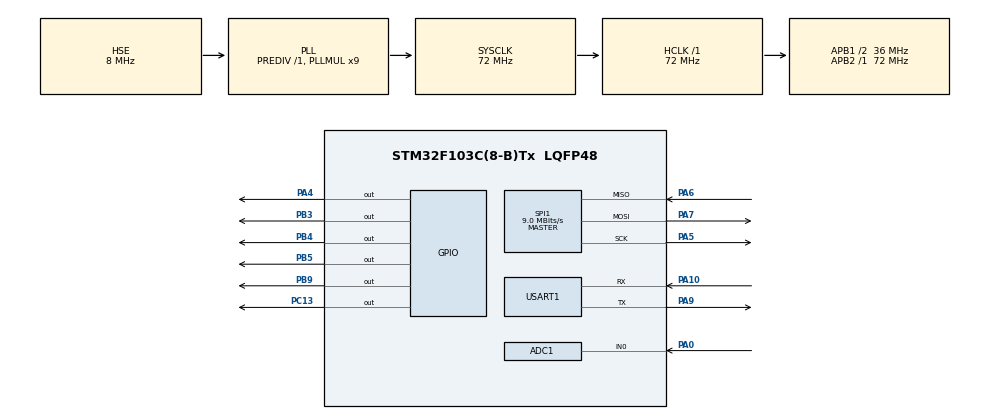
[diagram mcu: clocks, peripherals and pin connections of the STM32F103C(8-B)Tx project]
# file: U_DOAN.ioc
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Mcu.Family=STM32F1
RCC.PLLSourceVirtual=RCC_PLLSOURCE_HSE
NVIC.ADC1_2_IRQn=true\:1\:0\:true\:false\:true\:true\:true
PA6.Mode=Full_Duplex_Master
ADC1.Rank-0\#ChannelRegularConversion=1
PA7.Mode=Full_Duplex_Master
PD1-OSC_OUT.Mode=HSE-External-Oscillator
PA10.Mode=Asynchronous
SPI1.VirtualType=VM_MASTER
ADC1.ContinuousConvMode=ENABLE
PC13-TAMPER-RTC.Signal=GPIO_Output
NVIC.TIM1_UP_IRQn=true\:2\:0\:true\:false\:true\:true\:true
PD0-OSC_IN.Signal=RCC_OSC_IN
RCC.APB1CLKDivider=RCC_HCLK_DIV2
RCC.SYSCLKSource=RCC_SYSCLKSOURCE_PLLCLK
ProjectManager.StackSize=0x400
PA0-WKUP.Signal=ADCx_IN0
PD1-OSC_OUT.Signal=RCC_OSC_OUT
RCC.ADCPresc=RCC_ADCPCLK2_DIV6
PA13.Signal=SYS_JTMS-SWDIO
PA9.Mode=Asynchronous
TIM1.Prescaler=7199
ProjectManager.TargetToolchain=STM32CubeIDE
SPI1.Direction=SPI_DIRECTION_2LINES
RCC.HCLKFreq_Value=72000000
RCC.APB2TimFreq_Value=72000000
PA9.Signal=USART1_TX
SPI1.CalculateBaudRate=9.0 MBits/s
RCC.USBFreq_Value=72000000
RCC.AHBFreq_Value=72000000
PD0-OSC_IN.Mode=HSE-External-Oscillator
PA5.Signal=SPI1_SCK
ADC1.Channel-0\#ChannelRegularConversion=ADC_CHANNEL_0
board=custom
RCC.PLLMUL=RCC_PLL_MUL9
RCC.APB2Freq_Value=72000000
SPI1.Mode=SPI_MODE_MASTER
PA14.Mode=Serial_Wire
SH.ADCx_IN0.0=ADC1_IN0,IN0
PA13.Mode=Serial_Wire
Mcu.Name=STM32F103C(8-B)Tx
VP_TIM1_VS_ClockSourceINT.Mode=Internal
ADC1.SamplingTime-0\#ChannelRegularConversion=ADC_SAMPLETIME_239CYCLES_5
PB3.Signal=GPIO_Output
PA4.Signal=GPIO_Output
RCC.SYSCLKFreq_VALUE=72000000
Mcu.Package=LQFP48
PB5.Signal=GPIO_Output
PB9.Signal=GPIO_Output
PA6.Signal=SPI1_MISO
ADC1.master=1
USART1.VirtualMode=VM_ASYNC
PA10.Signal=USART1_RX
PA14.Signal=SYS_JTCK-SWCLK
ProjectManager.HeapSize=0x200
NVIC.PriorityGroup=NVIC_PRIORITYGROUP_4
ADC1.NbrOfConversionFlag=1
RCC.APB1TimFreq_Value=72000000
TIM1.Period=15000
NVIC.USART1_IRQn=true\:1\:0\:true\:false\:true\:true\:true
RCC.APB1Freq_Value=36000000
SPI1.BaudRatePrescaler=SPI_BAUDRATEPRESCALER_8
PB4.Signal=GPIO_Output
PA5.Mode=Full_Duplex_Master
PA7.Signal=SPI1_MOSI

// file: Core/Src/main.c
/* USER CODE BEGIN Header */
/**
 ******************************************************************************
 * @file           : main.c
 * @brief          : Main program body
 ******************************************************************************
 * @attention
 *
 * <h2><center>&copy; Copyright (c) 2022 STMicroelectronics.
 * All rights reserved.</center></h2>
 *
 * This software component is licensed by ST under BSD 3-Clause license,
 * the "License"; You may not use this file except in compliance with the
 * License. You may obtain a copy of the License at:
 *                        opensource.org/licenses/BSD-3-Clause
 *
 ******************************************************************************
 */
/* USER CODE END Header */
#include "main.h"

/* USER CODE BEGIN Includes */
#include "stdio.h"
#include <stdbool.h>
#include <stdint.h>
#include <string.h>
#include <stdlib.h>
#include "cJSON.h"
#include "rc522.h"
#include "DHT.h"
/* USER CODE END Includes */

ADC_HandleTypeDef hadc1;

SPI_HandleTypeDef hspi1;

TIM_HandleTypeDef htim1;

UART_HandleTypeDef huart1;

void SystemClock_Config(void);
static void MX_GPIO_Init(void);
static void MX_ADC1_Init(void);
static void MX_SPI1_Init(void);
static void MX_TIM1_Init(void);
static void MX_USART1_UART_Init(void);
/* USER CODE BEGIN PFP */

// Transmit using Print
#ifdef __GNUC__
#define PUTCHAR_PROTOTYPE int __io_putchar(int ch)
#else
#define PUTCHAR_PROTOTYPE int fputc(int ch,FILE *f)
#endif
PUTCHAR_PROTOTYPE {
	// CONG PC
	HAL_UART_Transmit(&huart1, (uint8_t*) &ch, 1, 0xFFFF);
	return ch;
}

void senddata(unsigned int Temperature, unsigned int Humidity, unsigned int gas,
		unsigned int TB1, unsigned int TB2, uint8_t serNum[5]);
void HAL_UART_RxCpltCallback(UART_HandleTypeDef *huart);
void XulyJson(char *DataJson);

// receive ID CARD
uint8_t status;
uint8_t str[MFRC522_MAX_LEN];
uint8_t serNum[5];

// Transmit and receive data
char sendo[20];
char rec, null;
char buffer[20];
uint8_t i = 0;

// variable of DHT11, MQ2
DHT_DataTypedef DHT11_Data;
unsigned int Temperature;
unsigned int Humidity;
unsigned int gas = 0;
unsigned int TB1 = 0;
unsigned int TB2 = 0;

//convert to char
char Str_temp[50];
char Str_gas[50];
char Str_hum[50];
char Str_ID[50];
char Str_TB1[50];
char Str_TB2[50];
char JSON[50];
char a[50];

cJSON *str_json, *str_TB1, *str_TB2, *str_Mode;
/* USER CODE END PFP */

/* USER CODE BEGIN 0 */
// convert to Json
void senddata(unsigned int Temperature, unsigned int Humidity, unsigned int gas,
		unsigned int TB1, unsigned int TB2, uint8_t serNum[5]) {
	/* // {"temp":" 69*c", "gas":"1",...}  */

	// data end of array char
	// delete data
	for (int i = 0; i < 50; i++) {
		Str_temp[i] = 0;
		Str_gas[i] = 0;
		Str_hum[i] = 0;
		Str_TB1[i] = 0;
		Str_TB2[i] = 0;
		Str_ID[i] = 0;
		JSON[i] = 0;
	}

	// transmit to array char

	sprintf(Str_temp, "%d", Temperature);
	sprintf(Str_gas, "%d", gas);
	sprintf(Str_hum, "%d", Humidity);
	sprintf(Str_TB1, "%d", TB1);
	sprintf(Str_TB2, "%d", TB2);
	sprintf(Str_ID, "%d%d%d%d", serNum[1], serNum[2], serNum[3], serNum[4]);

	// {"tempt":"12","gas":"12","hum":"43"}

	strcat(JSON, "{\"tempt\":\"");
	strcat(JSON, Str_temp);
	strcat(JSON, "\",");

	strcat(JSON, "\"hum\":\"");
	strcat(JSON, Str_hum);
	strcat(JSON, "\",");

	strcat(JSON, "\"ID\":\"");
	strcat(JSON, Str_ID);
	strcat(JSON, "\",");

	strcat(JSON, "\"gas\":\"");
	strcat(JSON, Str_gas);
	strcat(JSON, "\",");

	strcat(JSON, "\"TB1\":\"");
	strcat(JSON, Str_TB1);
	strcat(JSON, "\",");

	strcat(JSON, "\"TB2\":\"");
	strcat(JSON, Str_TB2);
	strcat(JSON, "\"}");

	printf("%s\r\n", JSON);

}

// process JSON
void XulyJson(char *DataJson) {
	str_json = cJSON_Parse(DataJson);
	if (!str_json) {
		printf("JSON ERROR!\r\n");
		return;
	} else {
		printf("JSON OK\r\n");
		// {"TB1" :"1-0",...}
		if (cJSON_GetObjectItem(str_json, "TB1")) {
			TB1 = atoi(cJSON_GetObjectItem(str_json, "TB1")->valuestring);
			HAL_GPIO_WritePin(GPIOC, GPIO_PIN_13, TB1);
			/*
			 if (strstr(cJSON_GetObjectItem(str_json, "TB1")->valuestring, "0")!= NULL) {
			 TB1 = atoi(cJSON_GetObjectItem(str_json, "TB1") -> valuestring);
			 printf("OFF LED 1");
			 HAL_GPIO_WritePin(GPIOC, GPIO_PIN_13, TB1);
			 } else if (strstr(cJSON_GetObjectItem(str_json, "TB1")->valuestring, "1") != NULL) {
			 printf("ON LED 1");
			 HAL_GPIO_WritePin(GPIOC, GPIO_PIN_13, 0);
			 }
			 */
		}
		if (cJSON_GetObjectItem(str_json, "TB2")) {
			TB2 = atoi(cJSON_GetObjectItem(str_json, "TB2")->valuestring);
		}
		/*
		 if(cJSON_GetObjectItem(str_json, "C1"))
		 {
		 C1 = atoi(cJSON_GetObjectItem(str_json, "C1") -> valuestring);
		 // convert from char	 to int
		 }
		 */
		cJSON_Delete(str_json);
	}
}

// use timer counter up 20000 check RFID.
void HAL_TIM_PeriodElapsedCallback(TIM_HandleTypeDef *htim) {
	for (int i = 0; i < sizeof(str); i++) {
					str[i] = null;
				}
	if (htim->Instance == htim1.Instance) {
		status = MFRC522_Request(PICC_REQIDL, str);	// Find cards, return card type
		if (status == MI_OK)
			status = MFRC522_Anticoll(str);
		memcpy(serNum, str, 5);
		if (status == MI_OK) {
			if (serNum[1] == 14 && serNum[2] == 70 && serNum[3] == 24
					&& serNum[4] == 211) {
				HAL_GPIO_WritePin(GPIOC, GPIO_PIN_13, 0);
			} else
				HAL_GPIO_WritePin(GPIOC, GPIO_PIN_13, 1);
		}

//		sprintf(Str_gas, "%d", gas);
	}

}
// use receive interrupt
void HAL_UART_RxCpltCallback(UART_HandleTypeDef *huart) {
	if (huart->Instance == huart1.Instance) {
		if (rec != 13) {
			buffer[i++] = rec;
		}

		else if (rec == 13) {
			XulyJson(buffer);
			i = 0;
			for (int cnt = 0; cnt < sizeof(buffer); cnt++) {
				buffer[cnt] = null;
			}

		}
		HAL_UART_Receive_IT(&huart1, (uint8_t*) &rec, 1);

	}
}
void HAL_ADC_ConvCpltCallback(ADC_HandleTypeDef* hadc){
	if(hadc->Instance == hadc1.Instance){
		gas = HAL_ADC_GetValue(&hadc1);
	}
}
/* USER CODE END 0 */

int main(void)
{

  /* MCU Configuration--------------------------------------------------------*/

  /* Reset of all peripherals, Initializes the Flash interface and the Systick. */
  HAL_Init();

  /* Configure the system clock */
  SystemClock_Config();

  /* Initialize all configured peripherals */
  MX_GPIO_Init();
  MX_ADC1_Init();
  MX_SPI1_Init();
  MX_TIM1_Init();
  MX_USART1_UART_Init();
  /* USER CODE BEGIN 2 */
	MFRC522_Init();
	HAL_UART_Receive_IT(&huart1, (uint8_t*) &rec, 1);
	HAL_ADC_Start_IT(&hadc1);
	HAL_TIM_Base_Start_IT(&htim1);
  /* USER CODE END 2 */

  /* Infinite loop */
  /* USER CODE BEGIN WHILE */
	while (1) {
//		DHT_GetData(&DHT11_Data);
//		Temperature = DHT11_Data.Temperature;
//		Humidity = DHT11_Data.Humidity;
		HAL_Delay(50);
		senddata(Temperature, Humidity, gas, TB1, TB2, serNum);
		// delete ID card

		HAL_Delay(3000);
    /* USER CODE END WHILE */

	}
}

void SystemClock_Config(void)
{
  RCC_OscInitTypeDef RCC_OscInitStruct = {0};
  RCC_ClkInitTypeDef RCC_ClkInitStruct = {0};
  RCC_PeriphCLKInitTypeDef PeriphClkInit = {0};

  /** Initializes the RCC Oscillators according to the specified parameters
  * in the RCC_OscInitTypeDef structure.
  */
  RCC_OscInitStruct.OscillatorType = RCC_OSCILLATORTYPE_HSE;
  RCC_OscInitStruct.HSEState = RCC_HSE_ON;
  RCC_OscInitStruct.HSEPredivValue = RCC_HSE_PREDIV_DIV1;
  RCC_OscInitStruct.HSIState = RCC_HSI_ON;
  RCC_OscInitStruct.PLL.PLLState = RCC_PLL_ON;
  RCC_OscInitStruct.PLL.PLLSource = RCC_PLLSOURCE_HSE;
  RCC_OscInitStruct.PLL.PLLMUL = RCC_PLL_MUL9;
  if (HAL_RCC_OscConfig(&RCC_OscInitStruct) != HAL_OK)
  {
    Error_Handler();
  }
  /** Initializes the CPU, AHB and APB buses clocks
  */
  RCC_ClkInitStruct.ClockType = RCC_CLOCKTYPE_HCLK|RCC_CLOCKTYPE_SYSCLK
                              |RCC_CLOCKTYPE_PCLK1|RCC_CLOCKTYPE_PCLK2;
  RCC_ClkInitStruct.SYSCLKSource = RCC_SYSCLKSOURCE_PLLCLK;
  RCC_ClkInitStruct.AHBCLKDivider = RCC_SYSCLK_DIV1;
  RCC_ClkInitStruct.APB1CLKDivider = RCC_HCLK_DIV2;
  RCC_ClkInitStruct.APB2CLKDivider = RCC_HCLK_DIV1;

  if (HAL_RCC_ClockConfig(&RCC_ClkInitStruct, FLASH_LATENCY_2) != HAL_OK)
  {
    Error_Handler();
  }
  PeriphClkInit.PeriphClockSelection = RCC_PERIPHCLK_ADC;
  PeriphClkInit.AdcClockSelection = RCC_ADCPCLK2_DIV6;
  if (HAL_RCCEx_PeriphCLKConfig(&PeriphClkInit) != HAL_OK)
  {
    Error_Handler();
  }
}

static void MX_ADC1_Init(void)
{

  ADC_ChannelConfTypeDef sConfig = {0};

  /** Common config
  */
  hadc1.Instance = ADC1;
  hadc1.Init.ScanConvMode = ADC_SCAN_DISABLE;
  hadc1.Init.ContinuousConvMode = ENABLE;
  hadc1.Init.DiscontinuousConvMode = DISABLE;
  hadc1.Init.ExternalTrigConv = ADC_SOFTWARE_START;
  hadc1.Init.DataAlign = ADC_DATAALIGN_RIGHT;
  hadc1.Init.NbrOfConversion = 1;
  if (HAL_ADC_Init(&hadc1) != HAL_OK)
  {
    Error_Handler();
  }
  /** Configure Regular Channel
  */
  sConfig.Channel = ADC_CHANNEL_0;
  sConfig.Rank = ADC_REGULAR_RANK_1;
  sConfig.SamplingTime = ADC_SAMPLETIME_239CYCLES_5;
  if (HAL_ADC_ConfigChannel(&hadc1, &sConfig) != HAL_OK)
  {
    Error_Handler();
  }

}

static void MX_SPI1_Init(void)
{

  /* SPI1 parameter configuration*/
  hspi1.Instance = SPI1;
  hspi1.Init.Mode = SPI_MODE_MASTER;
  hspi1.Init.Direction = SPI_DIRECTION_2LINES;
  hspi1.Init.DataSize = SPI_DATASIZE_8BIT;
  hspi1.Init.CLKPolarity = SPI_POLARITY_LOW;
  hspi1.Init.CLKPhase = SPI_PHASE_1EDGE;
  hspi1.Init.NSS = SPI_NSS_SOFT;
  hspi1.Init.BaudRatePrescaler = SPI_BAUDRATEPRESCALER_8;
  hspi1.Init.FirstBit = SPI_FIRSTBIT_MSB;
  hspi1.Init.TIMode = SPI_TIMODE_DISABLE;
  hspi1.Init.CRCCalculation = SPI_CRCCALCULATION_DISABLE;
  hspi1.Init.CRCPolynomial = 10;
  if (HAL_SPI_Init(&hspi1) != HAL_OK)
  {
    Error_Handler();
  }

}

static void MX_TIM1_Init(void)
{

  TIM_ClockConfigTypeDef sClockSourceConfig = {0};
  TIM_MasterConfigTypeDef sMasterConfig = {0};

  htim1.Instance = TIM1;
  htim1.Init.Prescaler = 7199;
  htim1.Init.CounterMode = TIM_COUNTERMODE_UP;
  htim1.Init.Period = 15000;
  htim1.Init.ClockDivision = TIM_CLOCKDIVISION_DIV1;
  htim1.Init.RepetitionCounter = 0;
  htim1.Init.AutoReloadPreload = TIM_AUTORELOAD_PRELOAD_DISABLE;
  if (HAL_TIM_Base_Init(&htim1) != HAL_OK)
  {
    Error_Handler();
  }
  sClockSourceConfig.ClockSource = TIM_CLOCKSOURCE_INTERNAL;
  if (HAL_TIM_ConfigClockSource(&htim1, &sClockSourceConfig) != HAL_OK)
  {
    Error_Handler();
  }
  sMasterConfig.MasterOutputTrigger = TIM_TRGO_RESET;
  sMasterConfig.MasterSlaveMode = TIM_MASTERSLAVEMODE_DISABLE;
  if (HAL_TIMEx_MasterConfigSynchronization(&htim1, &sMasterConfig) != HAL_OK)
  {
    Error_Handler();
  }

}

static void MX_USART1_UART_Init(void)
{

  huart1.Instance = USART1;
  huart1.Init.BaudRate = 115200;
  huart1.Init.WordLength = UART_WORDLENGTH_8B;
  huart1.Init.StopBits = UART_STOPBITS_1;
  huart1.Init.Parity = UART_PARITY_NONE;
  huart1.Init.Mode = UART_MODE_TX_RX;
  huart1.Init.HwFlowCtl = UART_HWCONTROL_NONE;
  huart1.Init.OverSampling = UART_OVERSAMPLING_16;
  if (HAL_UART_Init(&huart1) != HAL_OK)
  {
    Error_Handler();
  }

}

static void MX_GPIO_Init(void)
{
  GPIO_InitTypeDef GPIO_InitStruct = {0};

  /* GPIO Ports Clock Enable */
  __HAL_RCC_GPIOC_CLK_ENABLE();
  __HAL_RCC_GPIOD_CLK_ENABLE();
  __HAL_RCC_GPIOA_CLK_ENABLE();
  __HAL_RCC_GPIOB_CLK_ENABLE();

  /*Configure GPIO pin Output Level */
  HAL_GPIO_WritePin(GPIOC, GPIO_PIN_13, GPIO_PIN_RESET);

  /*Configure GPIO pin Output Level */
  HAL_GPIO_WritePin(GPIOA, GPIO_PIN_4, GPIO_PIN_RESET);

  /*Configure GPIO pin Output Level */
  HAL_GPIO_WritePin(GPIOB, GPIO_PIN_3|GPIO_PIN_4|GPIO_PIN_5|GPIO_PIN_9, GPIO_PIN_RESET);

  /*Configure GPIO pin : PC13 */
  GPIO_InitStruct.Pin = GPIO_PIN_13;
  GPIO_InitStruct.Mode = GPIO_MODE_OUTPUT_PP;
  GPIO_InitStruct.Pull = GPIO_NOPULL;
  GPIO_InitStruct.Speed = GPIO_SPEED_FREQ_LOW;
  HAL_GPIO_Init(GPIOC, &GPIO_InitStruct);

  /*Configure GPIO pin : PA4 */
  GPIO_InitStruct.Pin = GPIO_PIN_4;
  GPIO_InitStruct.Mode = GPIO_MODE_OUTPUT_PP;
  GPIO_InitStruct.Pull = GPIO_NOPULL;
  GPIO_InitStruct.Speed = GPIO_SPEED_FREQ_LOW;
  HAL_GPIO_Init(GPIOA, &GPIO_InitStruct);

  /*Configure GPIO pins : PB3 PB4 PB5 PB9 */
  GPIO_InitStruct.Pin = GPIO_PIN_3|GPIO_PIN_4|GPIO_PIN_5|GPIO_PIN_9;
  GPIO_InitStruct.Mode = GPIO_MODE_OUTPUT_PP;
  GPIO_InitStruct.Pull = GPIO_NOPULL;
  GPIO_InitStruct.Speed = GPIO_SPEED_FREQ_LOW;
  HAL_GPIO_Init(GPIOB, &GPIO_InitStruct);

}

void Error_Handler(void)
{
	__disable_irq();
	while (1) {
	}
}

/************************ (C) COPYRIGHT STMicroelectronics *****END OF FILE****/
